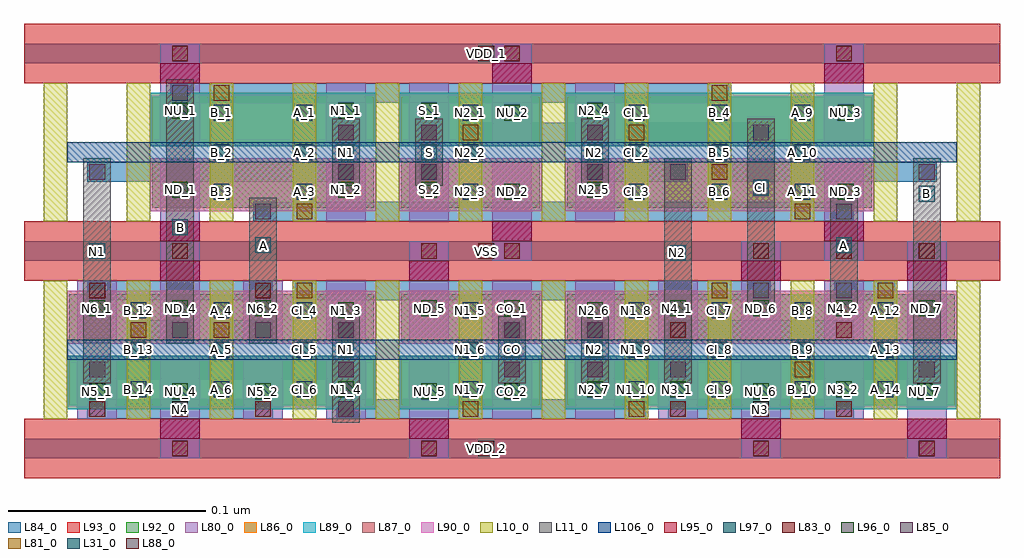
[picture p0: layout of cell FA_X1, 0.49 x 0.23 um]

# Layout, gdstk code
import gdstk
lib = gdstk.Library(unit=1e-6, precision=1e-09)
def R(c, l, rs):  # rectangles x0, y0, x1, y1
    for r in rs: c.add(gdstk.rectangle(r[:2], r[2:], *l))
def A(c, l, x, y, w, h, nx, ny, dx, dy):  # array of equal rectangles
    R(c, l, [(x+i*dx, y+j*dy, x+i*dx+w, y+j*dy+h) for i in range(nx) for j in range(ny)])
L10_0 = (10, 0)
L11_0 = (11, 0)
L31_0 = (31, 0)
L80_0 = (80, 0)
L81_0 = (81, 0)
L83_0 = (83, 0)
L84_0 = (84, 0)
L85_0 = (85, 0)
L86_0 = (86, 0)
L87_0 = (87, 0)
L88_0 = (88, 0)
L89_0 = (89, 0)
L90_0 = (90, 0)
L92_0 = (92, 0)
L93_0 = (93, 0)
L95_0 = (95, 0)
L96_0 = (96, 0)
L97_0 = (97, 0)
L106_0 = (106, 0)

fa_x1 = lib.new_cell('FA_X1')
A(fa_x1, L10_0, -0.027, -0.085, 0.012, 0.07, 12, 2, 0.042, 0.1)
A(fa_x1, L11_0, 0.203, -0.067, 0.014, 0.034, 3, 1, 0.042, 0)
A(fa_x1, L11_0, -0.007, -0.047, 0.014, 0.034, 3, 3, 0.042, 0.02)
A(fa_x1, L11_0, 0.287, -0.027, 0.014, 0.034, 4, 2, 0.042, 0.02)
A(fa_x1, L11_0, 0.035, 0.013, 0.014, 0.034, 1, 3, 0, 0.02)
A(fa_x1, L11_0, 0.161, 0.033, 0.014, 0.034, 3, 1, 0.084, 0)
R(fa_x1, L11_0, [(0.119,-0.087,0.133,-0.053), (-0.007,-0.067,0.007,-0.033), (0.119,-0.067,0.133,-0.033), (0.413,-0.067,0.427,-0.033), (0.287,-0.047,0.301,-0.013), (0.413,-0.047,0.427,-0.013), (-0.007,0.013,0.007,0.047), (0.287,0.013,0.301,0.047), (0.329,0.013,0.343,0.047), (0.413,0.013,0.427,0.047), (0.119,0.033,0.133,0.067)])
R(fa_x1, L31_0, [(0.122,-0.054,0.13,-0.046), (0.206,-0.054,0.214,-0.046), (0.248,-0.054,0.256,-0.046), (0.29,-0.005,0.298,0.003), (-0.004,-0.004,0.004,0.004), (0.08,-0.001,0.088,0.007), (0.374,-0.001,0.382,0.007), (0.038,0.008,0.046,0.016), (0.416,0.025,0.424,0.033), (0.332,0.028,0.34,0.036), (0.122,0.046,0.13,0.054), (0.164,0.046,0.172,0.054), (0.248,0.046,0.256,0.054)])
A(fa_x1, L80_0, -0.01, -0.085, 0.02, 0.03, 11, 2, 0.042, 0.04)
A(fa_x1, L80_0, 0.032, -0.025, 0.02, 0.03, 1, 3, 0, 0.04)
A(fa_x1, L80_0, 0.032, -0.005, 0.02, 0.03, 3, 2, 0.168, 0.08)
A(fa_x1, L80_0, 0.116, 0.015, 0.02, 0.03, 4, 2, 0.042, 0.04)
R(fa_x1, L80_0, [(0.032,-0.105,0.052,-0.075), (0.158,-0.105,0.178,-0.075), (0.326,-0.105,0.346,-0.075), (0.41,-0.105,0.43,-0.075), (0.158,-0.025,0.178,0.005), (0.326,-0.025,0.346,0.005), (0.41,-0.025,0.43,0.005), (0.368,0.015,0.388,0.045), (0.368,0.055,0.388,0.085)])
R(fa_x1, L81_0, [(0.185,-0.084,0.193,-0.076), (0.269,-0.084,0.277,-0.076), (0.353,-0.064,0.361,-0.056), (0.017,-0.044,0.025,-0.036), (0.059,-0.044,0.067,-0.036), (0.101,-0.024,0.109,-0.016), (0.311,-0.024,0.319,-0.016), (0.395,-0.024,0.403,-0.016), (0.101,0.016,0.109,0.024), (0.353,0.016,0.361,0.024), (0.311,0.036,0.319,0.044), (0.185,0.056,0.193,0.064), (0.269,0.056,0.277,0.064), (0.059,0.076,0.067,0.084), (0.059,0.076,0.067,0.084), (0.311,0.076,0.319,0.084)])
A(fa_x1, L83_0, 0.122, -0.084, 0.008, 0.008, 1, 3, 0, 0.02)
A(fa_x1, L83_0, 0.206, -0.044, 0.008, 0.008, 3, 1, 0.042, 0)
A(fa_x1, L83_0, 0.332, -0.004, 0.008, 0.008, 3, 1, 0.042, 0)
A(fa_x1, L83_0, 0.038, 0.096, 0.008, 0.008, 3, 1, 0.168, 0)
R(fa_x1, L83_0, [(0.038,-0.104,0.046,-0.096), (0.164,-0.104,0.172,-0.096), (0.332,-0.104,0.34,-0.096), (0.416,-0.104,0.424,-0.096), (-0.004,-0.084,0.004,-0.076), (0.08,-0.084,0.088,-0.076), (0.29,-0.084,0.298,-0.076), (0.374,-0.084,0.382,-0.076), (0.206,-0.064,0.214,-0.056), (0.248,-0.064,0.256,-0.056), (0.374,-0.044,0.382,-0.036), (-0.004,-0.024,0.004,-0.016), (0.08,-0.024,0.088,-0.016), (0.038,-0.004,0.046,0.004), (0.038,-0.004,0.046,0.004), (0.164,-0.004,0.172,0.004), (0.206,-0.004,0.214,0.004), (0.122,0.036,0.13,0.044), (0.164,0.036,0.172,0.044), (0.248,0.036,0.256,0.044), (0.122,0.056,0.13,0.064), (0.164,0.056,0.172,0.064), (0.248,0.056,0.256,0.064)])
A(fa_x1, L84_0, -0.037, -0.105, 0.494, 0.01, 1, 3, 0, 0.1)
A(fa_x1, L84_0, -0.005, -0.085, 0.031, 0.01, 4, 2, 0.021, 0.06)
A(fa_x1, L84_0, 0.121, -0.085, 0.031, 0.01, 7, 1, 0.021, 0)
A(fa_x1, L84_0, 0.289, -0.085, 0.031, 0.01, 4, 2, 0.021, 0.04)
A(fa_x1, L84_0, -0.005, -0.065, 0.031, 0.01, 6, 2, 0.021, 0.1)
A(fa_x1, L84_0, 0.352, -0.065, 0.031, 0.01, 3, 1, 0.021, 0)
A(fa_x1, L84_0, 0.1, -0.025, 0.031, 0.01, 11, 1, 0.021, 0)
A(fa_x1, L84_0, 0.079, 0.015, 0.031, 0.01, 14, 1, 0.021, 0)
A(fa_x1, L84_0, 0.31, 0.035, 0.031, 0.01, 5, 1, 0.021, 0)
A(fa_x1, L84_0, 0.184, 0.055, 0.031, 0.01, 3, 1, 0.021, 0)
A(fa_x1, L84_0, 0.268, 0.055, 0.031, 0.01, 3, 1, 0.021, 0)
A(fa_x1, L84_0, 0.037, 0.075, 0.031, 0.01, 13, 1, 0.021, 0)
R(fa_x1, L84_0, [(0.205,-0.065,0.215,-0.055), (0.247,-0.065,0.278,-0.055), (0.268,-0.065,0.299,-0.055), (0.016,-0.045,0.047,-0.035), (0.058,-0.045,0.089,-0.035), (0.121,-0.045,0.131,-0.035), (0.205,-0.045,0.215,-0.035), (0.247,-0.045,0.257,-0.035), (0.373,-0.025,0.404,-0.015), (0.163,0.035,0.173,0.045), (0.247,0.035,0.278,0.045), (0.268,0.035,0.299,0.045), (0.121,0.055,0.131,0.065), (0.163,0.055,0.173,0.065)])
A(fa_x1, L85_0, 0.206, -0.064, 0.008, 0.008, 3, 1, 0.042, 0)
A(fa_x1, L85_0, 0.038, -0.044, 0.008, 0.008, 3, 1, 0.042, 0)
A(fa_x1, L85_0, 0.164, 0.056, 0.008, 0.008, 3, 1, 0.084, 0)
R(fa_x1, L85_0, [(0.122,-0.084,0.13,-0.076), (-0.004,-0.064,0.004,-0.056), (0.122,-0.064,0.13,-0.056), (0.416,-0.064,0.424,-0.056), (0.206,-0.044,0.214,-0.036), (0.248,-0.044,0.256,-0.036), (0.332,-0.024,0.34,-0.016), (0.374,-0.024,0.382,-0.016), (0.08,0.016,0.088,0.024), (0.374,0.016,0.382,0.024), (-0.004,0.036,0.004,0.044), (0.122,0.036,0.13,0.044), (0.164,0.036,0.172,0.044), (0.248,0.036,0.256,0.044), (0.29,0.036,0.298,0.044), (0.416,0.036,0.424,0.044), (0.122,0.056,0.13,0.064), (0.038,0.076,0.046,0.084)])
R(fa_x1, L86_0, [(-0.015,-0.08,0.141,-0.053), (0.153,-0.08,0.225,-0.053), (0.237,-0.08,0.435,-0.053), (0.027,0.053,0.141,0.08), (0.153,0.053,0.225,0.08), (0.237,0.053,0.393,0.08)])
R(fa_x1, L87_0, [(-0.015,-0.047,0.141,-0.02), (0.153,-0.047,0.225,-0.02), (0.237,-0.047,0.435,-0.02), (0.027,0.02,0.141,0.047), (0.153,0.02,0.225,0.047), (0.237,0.02,0.393,0.047)])
A(fa_x1, L88_0, 0.193, -0.104, 0.008, 0.008, 1, 3, 0, 0.1)
R(fa_x1, L88_0, [(0.038,-0.084,0.046,-0.076), (0.332,-0.084,0.34,-0.076)])
R(fa_x1, L89_0, [(-0.015,-0.08,0.141,-0.053), (0.153,-0.08,0.225,-0.053), (0.237,-0.08,0.435,-0.053), (0.027,0.053,0.141,0.08), (0.153,0.053,0.225,0.08), (0.237,0.053,0.393,0.08)])
R(fa_x1, L90_0, [(-0.015,-0.047,0.141,-0.02), (0.153,-0.047,0.225,-0.02), (0.237,-0.047,0.435,-0.02), (0.027,0.02,0.141,0.047), (0.153,0.02,0.225,0.047), (0.237,0.02,0.393,0.047)])
R(fa_x1, L92_0, [(-0.014,-0.078,0.14,-0.055), (0.154,-0.078,0.224,-0.055), (0.238,-0.078,0.434,-0.055), (-0.014,-0.045,0.14,-0.022), (0.154,-0.045,0.224,-0.022), (0.238,-0.045,0.434,-0.022), (0.028,0.022,0.14,0.045), (0.154,0.022,0.224,0.045), (0.238,0.022,0.392,0.045), (0.028,0.055,0.14,0.078), (0.154,0.055,0.224,0.078), (0.238,0.055,0.392,0.078)])
A(fa_x1, L93_0, -0.037, -0.115, 0.494, 0.03, 1, 3, 0, 0.1)
A(fa_x1, L95_0, 0.032, 0.005, 0.02, 0.01, 3, 2, 0.168, 0.08)
R(fa_x1, L95_0, [(0.032,-0.095,0.052,-0.085), (0.158,-0.095,0.178,-0.085), (0.326,-0.095,0.346,-0.085), (0.41,-0.095,0.43,-0.085), (0.032,-0.015,0.052,-0.005), (0.158,-0.015,0.178,-0.005), (0.326,-0.015,0.346,-0.005), (0.41,-0.015,0.43,-0.005)])
A(fa_x1, L96_0, -0.004, -0.075, 0.008, 0.008, 3, 2, 0.042, 0.042)
A(fa_x1, L96_0, 0.29, -0.033, 0.008, 0.008, 4, 1, 0.042, 0)
R(fa_x1, L96_0, [(0.164,-0.075,0.172,-0.067), (0.206,-0.075,0.214,-0.067), (0.332,-0.075,0.34,-0.067), (0.415,-0.075,0.423,-0.067), (0.122,-0.074,0.13,-0.066), (0.248,-0.074,0.256,-0.066), (0.29,-0.074,0.298,-0.066), (0.374,-0.074,0.382,-0.066), (0.122,-0.034,0.13,-0.026), (0.248,-0.034,0.256,-0.026), (0.164,-0.033,0.172,-0.025), (0.206,-0.033,0.214,-0.025), (0.206,0.026,0.214,0.034), (0.375,0.026,0.383,0.034), (0.038,0.027,0.046,0.035), (0.122,0.027,0.13,0.035), (0.164,0.027,0.172,0.035), (0.248,0.027,0.256,0.035), (0.206,0.066,0.214,0.074), (0.375,0.066,0.383,0.074), (0.038,0.067,0.046,0.075), (0.122,0.067,0.13,0.075), (0.164,0.067,0.172,0.075), (0.248,0.067,0.256,0.075)])
A(fa_x1, L97_0, 0.017, -0.074, 0.008, 0.008, 3, 3, 0.042, 0.02)
A(fa_x1, L97_0, 0.185, -0.074, 0.008, 0.008, 1, 3, 0, 0.02)
A(fa_x1, L97_0, 0.269, -0.074, 0.008, 0.008, 4, 3, 0.042, 0.02)
A(fa_x1, L97_0, 0.059, 0.026, 0.008, 0.008, 1, 3, 0, 0.02)
A(fa_x1, L97_0, 0.101, 0.026, 0.008, 0.008, 3, 3, 0.084, 0.02)
A(fa_x1, L97_0, 0.311, 0.026, 0.008, 0.008, 1, 3, 0, 0.02)
A(fa_x1, L97_0, 0.353, 0.026, 0.008, 0.008, 1, 3, 0, 0.02)
R(fa_x1, L106_0, [(-0.015,-0.055,0.435,-0.045), (-0.015,0.045,0.435,0.055)])
fa_x1.add(gdstk.Label('N3_2', (0.378,-0.07), layer=96, texttype=0))
fa_x1.add(gdstk.Label('N3_1', (0.294,-0.07), layer=96, texttype=0))
fa_x1.add(gdstk.Label('CO_1', (0.21,-0.029), layer=96, texttype=0))
fa_x1.add(gdstk.Label('CO_2', (0.21,-0.071), layer=96, texttype=0))
fa_x1.add(gdstk.Label('N5_2', (0.084,-0.071), layer=96, texttype=0))
fa_x1.add(gdstk.Label('N5_1', (0,-0.071), layer=96, texttype=0))
fa_x1.add(gdstk.Label('N2_6', (0.252,-0.03), layer=96, texttype=0))
fa_x1.add(gdstk.Label('N2_7', (0.252,-0.07), layer=96, texttype=0))
fa_x1.add(gdstk.Label('N2_4', (0.252,0.071), layer=96, texttype=0))
fa_x1.add(gdstk.Label('N2_5', (0.252,0.031), layer=96, texttype=0))
fa_x1.add(gdstk.Label('S_2', (0.168,0.031), layer=96, texttype=0))
fa_x1.add(gdstk.Label('S_1', (0.168,0.071), layer=96, texttype=0))
fa_x1.add(gdstk.Label('N1_3', (0.126,-0.03), layer=96, texttype=0))
fa_x1.add(gdstk.Label('N1_4', (0.126,-0.07), layer=96, texttype=0))
fa_x1.add(gdstk.Label('N6_2', (0.084,-0.029), layer=96, texttype=0))
fa_x1.add(gdstk.Label('N6_1', (0,-0.029), layer=96, texttype=0))
fa_x1.add(gdstk.Label('N4_1', (0.294,-0.029), layer=96, texttype=0))
fa_x1.add(gdstk.Label('N4_2', (0.378,-0.029), layer=96, texttype=0))
fa_x1.add(gdstk.Label('ND_7', (0.42,-0.029), layer=96, texttype=0))
fa_x1.add(gdstk.Label('ND_6', (0.336,-0.029), layer=96, texttype=0))
fa_x1.add(gdstk.Label('ND_5', (0.168,-0.029), layer=96, texttype=0))
fa_x1.add(gdstk.Label('NU_7', (0.419,-0.071), layer=96, texttype=0))
fa_x1.add(gdstk.Label('NU_6', (0.336,-0.071), layer=96, texttype=0))
fa_x1.add(gdstk.Label('NU_5', (0.168,-0.071), layer=96, texttype=0))
fa_x1.add(gdstk.Label('ND_4', (0.042,-0.029), layer=96, texttype=0))
fa_x1.add(gdstk.Label('NU_4', (0.042,-0.071), layer=96, texttype=0))
fa_x1.add(gdstk.Label('N1_1', (0.126,0.071), layer=96, texttype=0))
fa_x1.add(gdstk.Label('N1_2', (0.126,0.031), layer=96, texttype=0))
fa_x1.add(gdstk.Label('ND_3', (0.379,0.03), layer=96, texttype=0))
fa_x1.add(gdstk.Label('NU_3', (0.379,0.07), layer=96, texttype=0))
fa_x1.add(gdstk.Label('ND_2', (0.21,0.03), layer=96, texttype=0))
fa_x1.add(gdstk.Label('NU_2', (0.21,0.07), layer=96, texttype=0))
fa_x1.add(gdstk.Label('NU_1', (0.042,0.071), layer=96, texttype=0))
fa_x1.add(gdstk.Label('ND_1', (0.042,0.031), layer=96, texttype=0))
fa_x1.add(gdstk.Label('N1', (0,0), layer=31, texttype=0))
fa_x1.add(gdstk.Label('CO', (0.21,-0.05), layer=31, texttype=0))
fa_x1.add(gdstk.Label('CI', (0.336,0.032), layer=31, texttype=0))
fa_x1.add(gdstk.Label('N2', (0.252,-0.05), layer=31, texttype=0))
fa_x1.add(gdstk.Label('N2', (0.294,-0.001), layer=31, texttype=0))
fa_x1.add(gdstk.Label('N2', (0.252,0.05), layer=31, texttype=0))
fa_x1.add(gdstk.Label('S', (0.168,0.05), layer=31, texttype=0))
fa_x1.add(gdstk.Label('N1', (0.126,-0.05), layer=31, texttype=0))
fa_x1.add(gdstk.Label('A', (0.378,0.003), layer=31, texttype=0))
fa_x1.add(gdstk.Label('A', (0.084,0.003), layer=31, texttype=0))
fa_x1.add(gdstk.Label('B', (0.042,0.012), layer=31, texttype=0))
fa_x1.add(gdstk.Label('B', (0.42,0.029), layer=31, texttype=0))
fa_x1.add(gdstk.Label('N1', (0.126,0.05), layer=31, texttype=0))
fa_x1.add(gdstk.Label('CI_7', (0.315,-0.03), layer=97, texttype=0))
fa_x1.add(gdstk.Label('CI_8', (0.315,-0.05), layer=97, texttype=0))
fa_x1.add(gdstk.Label('CI_9', (0.315,-0.07), layer=97, texttype=0))
fa_x1.add(gdstk.Label('CI_4', (0.105,-0.03), layer=97, texttype=0))
fa_x1.add(gdstk.Label('CI_5', (0.105,-0.05), layer=97, texttype=0))
fa_x1.add(gdstk.Label('CI_6', (0.105,-0.07), layer=97, texttype=0))
fa_x1.add(gdstk.Label('CI_1', (0.273,0.07), layer=97, texttype=0))
fa_x1.add(gdstk.Label('CI_2', (0.273,0.05), layer=97, texttype=0))
fa_x1.add(gdstk.Label('CI_3', (0.273,0.03), layer=97, texttype=0))
fa_x1.add(gdstk.Label('N2_1', (0.189,0.07), layer=97, texttype=0))
fa_x1.add(gdstk.Label('N2_2', (0.189,0.05), layer=97, texttype=0))
fa_x1.add(gdstk.Label('N2_3', (0.189,0.03), layer=97, texttype=0))
fa_x1.add(gdstk.Label('N1_8', (0.273,-0.03), layer=97, texttype=0))
fa_x1.add(gdstk.Label('N1_9', (0.273,-0.05), layer=97, texttype=0))
fa_x1.add(gdstk.Label('N1_10', (0.273,-0.07), layer=97, texttype=0))
fa_x1.add(gdstk.Label('N1_5', (0.189,-0.03), layer=97, texttype=0))
fa_x1.add(gdstk.Label('N1_6', (0.189,-0.05), layer=97, texttype=0))
fa_x1.add(gdstk.Label('N1_7', (0.189,-0.07), layer=97, texttype=0))
fa_x1.add(gdstk.Label('A_12', (0.399,-0.03), layer=97, texttype=0))
fa_x1.add(gdstk.Label('A_13', (0.399,-0.05), layer=97, texttype=0))
fa_x1.add(gdstk.Label('A_14', (0.399,-0.07), layer=97, texttype=0))
fa_x1.add(gdstk.Label('A_9', (0.357,0.07), layer=97, texttype=0))
fa_x1.add(gdstk.Label('A_10', (0.357,0.05), layer=97, texttype=0))
fa_x1.add(gdstk.Label('A_11', (0.357,0.03), layer=97, texttype=0))
fa_x1.add(gdstk.Label('B_14', (0.021,-0.07), layer=97, texttype=0))
fa_x1.add(gdstk.Label('B_13', (0.021,-0.05), layer=97, texttype=0))
fa_x1.add(gdstk.Label('B_12', (0.021,-0.03), layer=97, texttype=0))
fa_x1.add(gdstk.Label('A_4', (0.063,-0.03), layer=97, texttype=0))
fa_x1.add(gdstk.Label('A_5', (0.063,-0.05), layer=97, texttype=0))
fa_x1.add(gdstk.Label('A_6', (0.063,-0.07), layer=97, texttype=0))
fa_x1.add(gdstk.Label('B_8', (0.357,-0.03), layer=97, texttype=0))
fa_x1.add(gdstk.Label('B_9', (0.357,-0.05), layer=97, texttype=0))
fa_x1.add(gdstk.Label('B_10', (0.357,-0.07), layer=97, texttype=0))
fa_x1.add(gdstk.Label('B_4', (0.315,0.07), layer=97, texttype=0))
fa_x1.add(gdstk.Label('B_5', (0.315,0.05), layer=97, texttype=0))
fa_x1.add(gdstk.Label('B_6', (0.315,0.03), layer=97, texttype=0))
fa_x1.add(gdstk.Label('A_1', (0.105,0.07), layer=97, texttype=0))
fa_x1.add(gdstk.Label('A_2', (0.105,0.05), layer=97, texttype=0))
fa_x1.add(gdstk.Label('A_3', (0.105,0.03), layer=97, texttype=0))
fa_x1.add(gdstk.Label('B_1', (0.063,0.07), layer=97, texttype=0))
fa_x1.add(gdstk.Label('B_2', (0.063,0.05), layer=97, texttype=0))
fa_x1.add(gdstk.Label('B_3', (0.063,0.03), layer=97, texttype=0))
fa_x1.add(gdstk.Label('N3', (0.336,-0.08), layer=88, texttype=0))
fa_x1.add(gdstk.Label('N4', (0.042,-0.08), layer=88, texttype=0))
fa_x1.add(gdstk.Label('VDD_1', (0.197,0.1), layer=88, texttype=0))
fa_x1.add(gdstk.Label('VSS', (0.197,0), layer=88, texttype=0))
fa_x1.add(gdstk.Label('VDD_2', (0.197,-0.1), layer=88, texttype=0))

lib.write_gds('FA_X1.gds')
